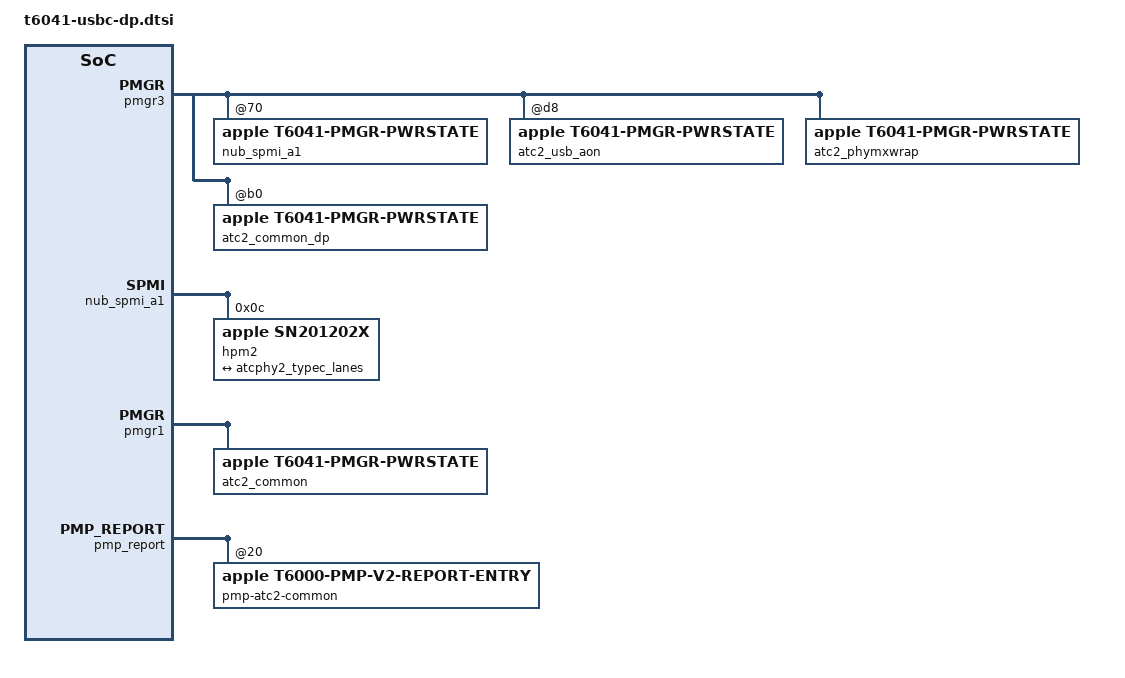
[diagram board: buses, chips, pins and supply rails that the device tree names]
#ifndef _T6041_USBC_DP_DTSI
#define _T6041_USBC_DP_DTSI
// SPDX-License-Identifier: GPL-2.0+ OR MIT
/* EXPERIMENTAL: J616c right-hand port (ATC2), DP alt mode, native ADT resources.
 * Keep HPM1/ATC1 unbound: it carries the development USB transport.
 */
#include <dt-bindings/spmi/spmi.h>

&pmgr3 {
	ps_nub_spmi_a1: power-controller@70 {
		compatible = "apple,t6041-pmgr-pwrstate", "apple,t8103-pmgr-pwrstate";
		reg = <0x70 4>;
		#power-domain-cells = <0>;
		#reset-cells = <0>;
		label = "nub_spmi_a1";
		apple,always-on;
	};
};

&{/soc} {
	nub_spmi_a1: spmi@509198000 {
		compatible = "apple,t6041-spmi", "apple,t8103-spmi";
		reg = <5 0x09198000 0 0x4000>;
		#address-cells = <2>;
		#size-cells = <0>;
		#interrupt-cells = <2>;
		interrupt-controller;
		interrupt-parent = <&aic>;
		/* ADT IRQ256 is local notify; IRQ868 is its AIC aggregate. */
		interrupts = <AIC_IRQ 868 IRQ_TYPE_LEVEL_HIGH>;
		power-domains = <&ps_nub_spmi_a1>;

		hpm2: usb-pd@c {
			compatible = "apple,sn201202x";
			reg = <0xc SPMI_USID>;
			interrupts = <11 IRQ_TYPE_EDGE_RISING>,
				     <13 IRQ_TYPE_EDGE_RISING>,
				     <17 IRQ_TYPE_EDGE_RISING>,
				     <19 IRQ_TYPE_EDGE_RISING>;
			interrupt-names = "irq", "select", "sleep", "wake";

			typec2: connector {
				label = "USB-C Right";
				compatible = "usb-c-connector";
				power-role = "dual";
				data-role = "dual";
				try-power-role = "sink";
			};
		};
	};
};

&pmgr1 {
	ps_atc2_common: power-controller@3e0 {
		compatible = "apple,t6041-pmgr-pwrstate", "apple,t8103-pmgr-pwrstate";
		reg = <0x3e0 4>;
		#power-domain-cells = <0>;
		#reset-cells = <0>;
		label = "atc2_common";
		power-domains = <&ps_fab2_soc>;
	};
};

&pmp_report {
	pmp_report_atc2: report@20 {
		compatible = "apple,t6000-pmp-v2-report-entry";
		reg = <32>;
		label = "pmp-atc2-common";
		/* The attached cable can leave PHYMXWRAP active in iBoot. */
		apple,boot-on;
		#power-domain-cells = <0>;
		power-domains = <&ps_atc2_common>;
	};
};

&pmgr3 {
	ps_atc2_usb_aon: power-controller@d8 {
		compatible = "apple,t6041-pmgr-pwrstate", "apple,t8103-pmgr-pwrstate";
		reg = <0xd8 4>;
		#power-domain-cells = <0>;
		#reset-cells = <0>;
		label = "atc2_usb_aon";
	};
	ps_atc2_phymxwrap: power-controller@160 {
		compatible = "apple,t6041-pmgr-pwrstate", "apple,t8103-pmgr-pwrstate";
		reg = <0x160 4>;
		#power-domain-cells = <0>;
		#reset-cells = <0>;
		label = "atc2_phymxwrap";
		power-domains = <&pmp_report_atc2>, <&ps_atc2_usb_aon>;
	};
	ps_atc2_common_dp: power-controller@b0 {
		compatible = "apple,t6041-pmgr-pwrstate", "apple,t8103-pmgr-pwrstate";
		reg = <0xb0 4>;
		#power-domain-cells = <0>;
		#reset-cells = <0>;
		label = "atc2_common_dp";
	};
};

&{/aliases} {
	atcphy2 = &atcphy2;
};

&{/soc} {
	acio_phy2_mbox: mailbox@393148000 {
		compatible = "apple,t6041-asc-mailbox", "apple,asc-mailbox-v4";
		reg = <3 0x93148000 0 0x4000>;
		interrupt-parent = <&aic>;
		interrupts = <AIC_IRQ 958 IRQ_TYPE_LEVEL_HIGH>,
			     <AIC_IRQ 959 IRQ_TYPE_LEVEL_HIGH>,
			     <AIC_IRQ 960 IRQ_TYPE_LEVEL_HIGH>,
			     <AIC_IRQ 961 IRQ_TYPE_LEVEL_HIGH>;
		interrupt-names = "send-empty", "send-not-empty",
				  "recv-empty", "recv-not-empty";
		#mbox-cells = <0>;
	};

	atcphy2: phy@393000000 {
		compatible = "apple,t6040-atcphy";
		reg = <3 0x93000000 0 0x30000>,
		      <3 0x93200000 0 0x4000>,
		      <3 0x93244000 0 0x4000>,
		      <3 0x93250000 0 0x4000>,
		      <3 0x93140000 0 0x4000>,
		      <3 0x930c0000 0 0x10000>;
		reg-names = "core", "power", "fabric", "common", "coproc", "sram";
		#phy-cells = <1>;
		mode-switch;
		orientation-switch;
		mboxes = <&acio_phy2_mbox>;
		power-domains = <&ps_atc2_usb_aon>, <&pmp_report_atc2>,
				<&ps_atc2_phymxwrap>, <&ps_atc2_common_dp>;
		ports {
			#address-cells = <1>;
			#size-cells = <0>;
			port@0 {
				reg = <0>;
				atcphy2_typec_lanes: endpoint {
					remote-endpoint = <&typec2_connector_ss>;
				};
			};
		};
	};
};

&typec2 {
	ports {
		#address-cells = <1>;
		#size-cells = <0>;
		port@1 {
			reg = <1>;
			typec2_connector_ss: endpoint {
				remote-endpoint = <&atcphy2_typec_lanes>;
			};
		};
	};
};

&{/soc} {
	atcphy2_dpxbar: mux@39324c000 {
		compatible = "apple,t6040-display-crossbar", "apple,t6020-display-crossbar";
		reg = <3 0x9324c000 0 0x4000>;
		#mux-control-cells = <1>;
		power-domains = <&ps_atc2_phymxwrap>;
	};
};

#endif
